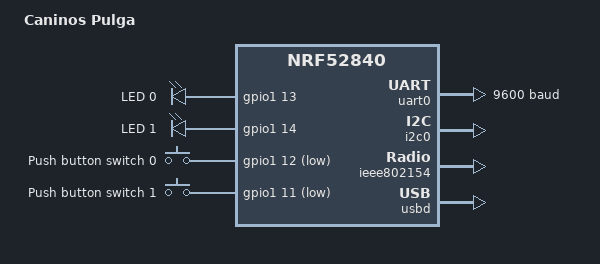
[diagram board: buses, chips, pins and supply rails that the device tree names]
/dts-v1/;
#include <nordic/nrf52840_qiaa.dtsi>
#include "pulga-pinctrl.dtsi"
#include <zephyr/dt-bindings/input/input-event-codes.h>

/ {
	model = "Caninos Pulga";
	compatible = "caninos,pulga";

	chosen {
		zephyr,console = &uart0;
		zephyr,shell-uart = &uart0;
		// Remote management via UART
		zephyr,uart-mcumgr = &uart0;
		// UART used to monitor logging
		zephyr,bt-mon-uart = &uart0;
		// UART used to communicate between Bluetooth 
		// controller (physical and link layer) and host
		// (GAP, GATT, etc) - HCI protocol
		zephyr,bt-c2h-uart = &uart0;
		zephyr,sram = &sram0;
		zephyr,flash = &flash0;
		zephyr,code-partition = &slot0_partition;
		zephyr,ieee802154 = &ieee802154;
	};
	
	leds {
		compatible = "gpio-leds";
		led0: led_0 {
			gpios = <&gpio1 13 GPIO_ACTIVE_HIGH>;
			label = "LED 0";
		};
		led1: led_1 {
			gpios = <&gpio1 14 GPIO_ACTIVE_HIGH>;
			label = "LED 1";
		};
	};
	
	buttons {
		compatible = "gpio-keys";
		button0: button_0 {
			gpios = <&gpio1 12 (GPIO_PULL_UP | GPIO_ACTIVE_LOW)>;
			label = "Push button switch 0";
			zephyr,code = <INPUT_KEY_0>;
		};
		button1: button_1 {
			gpios = <&gpio1 11 (GPIO_PULL_UP | GPIO_ACTIVE_LOW)>;
			label = "Push button switch 1";
			zephyr,code = <INPUT_KEY_1>;
		};
	};
	
	/* These aliases are provided for compatibility with samples */
	aliases {
		led0 = &led0;
		led1 = &led1;
		sw0 = &button0;
		sw1 = &button1;
		bootloader-led0 = &led0;
		mcuboot-button0 = &button0;
		mcuboot-led0 = &led0;
		watchdog0 = &wdt0;
	};
};

&uicr {
	gpio-as-nreset;
};

&gpiote {
	status = "okay";
};

&gpio0 {
	status = "okay";
	gpio-reserved-ranges = <0 2>, <6 1>, <8 3>, <17 7>;
	gpio-line-names = "XL1", "XL2", "AREF", "A0", "A1", "RTS", "TXD",
		"CTS", "RXD", "NFC1", "NFC2", "BUTTON1", "BUTTON2", "LED1",
		"LED2", "LED3", "LED4", "QSPI CS", "RESET", "QSPI CLK",
		"QSPI DIO0", "QSPI DIO1", "QSPI DIO2", "QSPI DIO3","BUTTON3",
		"BUTTON4", "SDA", "SCL", "A2", "A3", "A4", "A5";
};

&gpio1 {
	status = "okay";
	gpio-line-names = "", "D0", "D1", "D2", "D3", "D4", "D5", "D6",
		"D7", "", "D8", "D9", "D10", "D11", "D12", "D13";
};

&uart0 {
	compatible = "nordic,nrf-uarte";
	status = "okay";
	
	current-speed = <9600>;
	parity = "none";
	stop-bits = "1";
	data-bits = <8>;
	
	pinctrl-0 = <&uart0_default>;
	pinctrl-1 = <&uart0_sleep>;
	pinctrl-names = "default", "sleep";
};

&i2c0 {
	compatible = "nordic,nrf-twim";
	status = "okay";
	
	pinctrl-0 = <&i2c0_default>;
	pinctrl-1 = <&i2c0_sleep>;
	pinctrl-names = "default", "sleep";
};

&i2c1 {
	compatible = "nordic,nrf-twi";
	status = "disabled";
};

&spi0 {
	compatible = "nordic,nrf-spim";
	status = "disabled";
};

&spi1 {
	compatible = "nordic,nrf-spi";
	status = "disabled";
};

&ieee802154 {
	status = "okay";
};

&flash0 {
	partitions {
		compatible = "fixed-partitions";
		#address-cells = <1>;
		#size-cells = <1>;

		boot_partition: partition@0 {
			label = "mcuboot";
			reg = <0x00000000 0x0000C000>;
		};
		slot0_partition: partition@c000 {
			label = "image-0";
			reg = <0x0000C000 0x00076000>;
		};
		slot1_partition: partition@82000 {
			label = "image-1";
			reg = <0x00082000 0x00076000>;
		};

		/*
		 * The flash starting at 0x000f8000 and ending at
		 * 0x000fffff is reserved for use by the application.
		 */

		/*
		 * Storage partition will be used by FCB/LittleFS/NVS
		 * if enabled.
		 */
		storage_partition: partition@f8000 {
			label = "storage";
			reg = <0x000f8000 0x00008000>;
		};
	};
};

zephyr_udc0: &usbd {
	compatible = "nordic,nrf-usbd";
	status = "okay";
};
